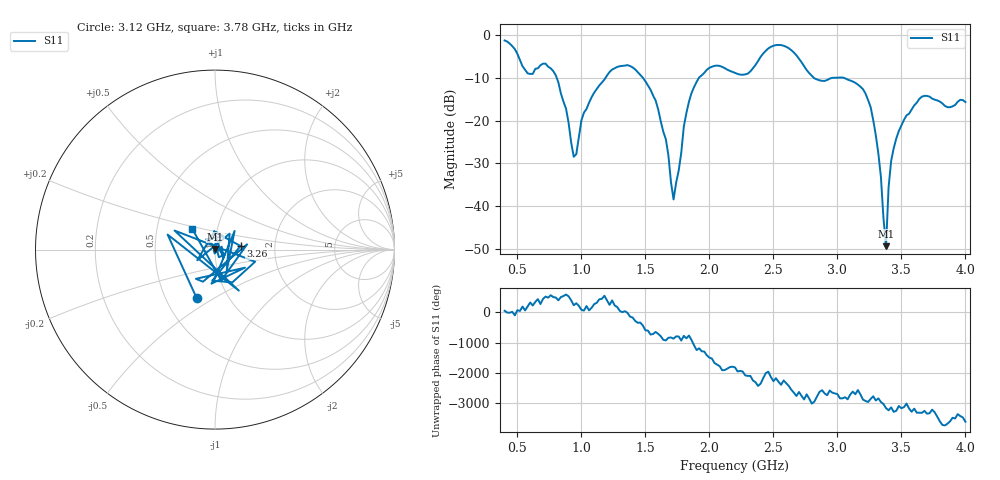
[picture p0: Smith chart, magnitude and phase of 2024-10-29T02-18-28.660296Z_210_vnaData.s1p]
!Created with skrf (http://scikit-rf.org).
# Hz S RI R 50.0
!freq ReS11 ImS11
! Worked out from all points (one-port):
!   181 points, 400 MHz to 4 GHz, reference 50 ohm
!   lowest |S11| = -49.4 dB at 3.38 GHz (marker M1), VSWR 1.01, Z = 50.2 + j0.289 ohm
!   |S11| at or under -10 dB: 807.4 MHz to 1.188 GHz (380.4 MHz wide, 38.1 % of centre); 1.482 GHz to 1.918 GHz (436.1 MHz wide, 25.7 % of centre); 3.051 GHz to end of sweep (the widest 3 of 4)
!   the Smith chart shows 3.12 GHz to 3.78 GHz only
!   S11 on the Smith chart (normalised r, x): 3.12 GHz: 0.71, -0.42; 3.26 GHz: 1.33, +0.05; 3.78 GHz: 0.76, +0.18
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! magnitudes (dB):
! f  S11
! 400 MHz  -1.2
! 580 MHz  -8.9
! 760 MHz  -7.7
! 860 MHz  -15.6
! 940 MHz  -28.5
! 1.08 GHz  -14.5
! 1.3 GHz  -7.2
! 1.42 GHz  -8.0
! 1.58 GHz  -15.3
! 1.66 GHz  -24.4
! 1.72 GHz  -38.5
! 1.76 GHz  -31.7
! 1.82 GHz  -18.3
! 1.92 GHz  -9.9
! 2.2 GHz  -8.8
! 2.5 GHz  -2.5
! 2.66 GHz  -4.0
! 2.82 GHz  -10.1
! 3.1 GHz  -10.6
! 3.12 GHz  -10.8
! 3.26 GHz  -16.9
! 3.32 GHz  -27.7
! 3.38 GHz  -49.4
! 3.4 GHz  -35.6
! 3.42 GHz  -29.4
! 3.56 GHz  -18.4
! 3.78 GHz  -15.3
! 4 GHz  -15.6
